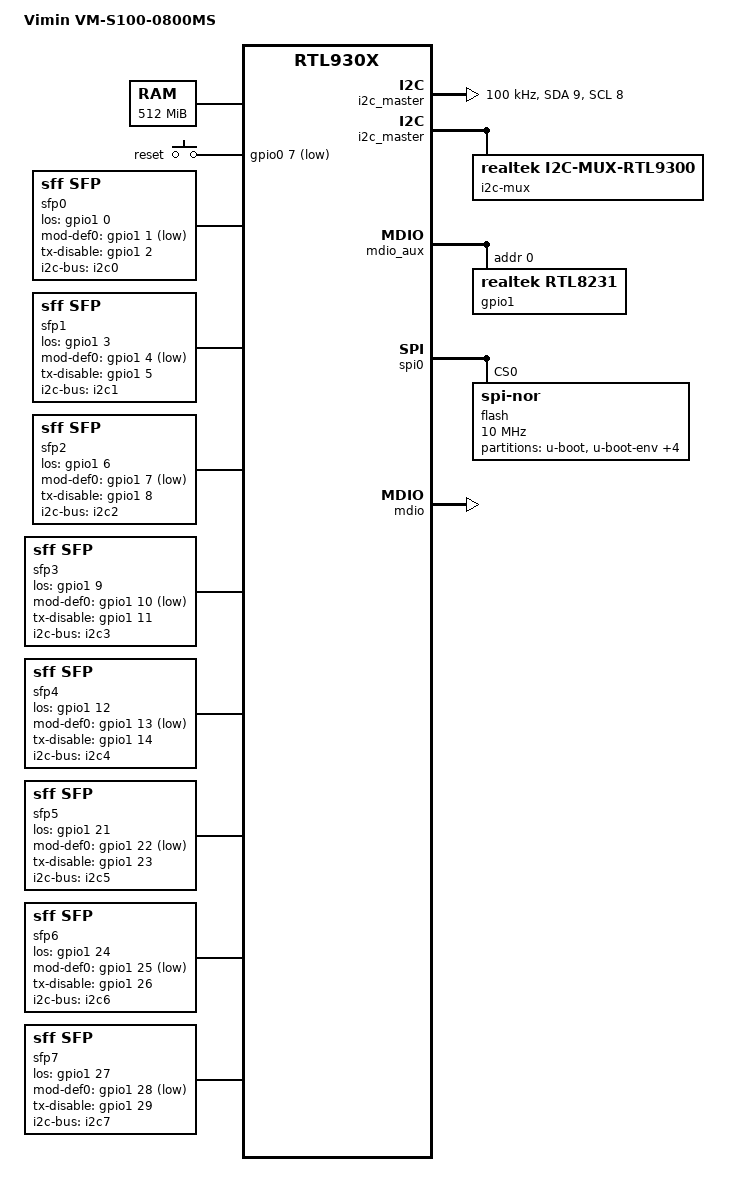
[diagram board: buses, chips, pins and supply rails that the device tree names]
// SPDX-License-Identifier: GPL-2.0-or-later

#include "rtl930x.dtsi"

#include <dt-bindings/input/input.h>
#include <dt-bindings/gpio/gpio.h>
#include <dt-bindings/leds/common.h>

/ {
	compatible = "vimin,vm-s100-0800ms", "realtek,rtl930x-soc";
	model = "Vimin VM-S100-0800MS";

	memory@0 {
		device_type = "memory";
		reg = <0x00000000 0x10000000>, /* first 256 MiB */
		      <0x20000000 0x10000000>; /* remaining 256 MiB */
	};

	chosen {
		stdout-path = "serial0:115200n8";
	};

	i2c_master: i2c@1b00036c {
		compatible = "realtek,rtl9300-i2c";
		reg = <0x1b00036c 0x3c>;
		#address-cells = <1>;
		#size-cells = <0>;
		scl-pin = <8>;
		sda-pin = <9>;
		clock-frequency = <100000>;
	};

	i2c-mux {
		compatible = "realtek,i2c-mux-rtl9300";
		i2c-parent = <&i2c_master>;
		#address-cells = <1>;
		#size-cells = <0>;

		i2c0: i2c@0 {
			reg = <0>;
			scl-pin = <8>;
			sda-pin = <9>;
		};

		i2c1: i2c@1 {
			reg = <1>;
			scl-pin = <8>;
			sda-pin = <10>;
		};

		i2c2: i2c@2 {
			reg = <2>;
			scl-pin = <8>;
			sda-pin = <11>;
		};

		i2c3: i2c@3 {
			reg = <3>;
			scl-pin = <8>;
			sda-pin = <12>;
		};

		i2c4: i2c@4 {
			reg = <4>;
			scl-pin = <8>;
			sda-pin = <13>;
		};

		i2c5: i2c@5 {
			reg = <5>;
			scl-pin = <8>;
			sda-pin = <14>;
		};

		i2c6: i2c@6 {
			reg = <6>;
			scl-pin = <8>;
			sda-pin = <15>;
		};

		i2c7: i2c@7 {
			reg = <7>;
			scl-pin = <8>;
			sda-pin = <16>;
		};
	};

	keys {
		compatible = "gpio-keys";

		button-reset {
			label = "reset";
			gpios = <&gpio0 7 GPIO_ACTIVE_LOW>;
			linux,code = <KEY_RESTART>;
		};
	};

	led_set {
		compatible = "realtek,rtl9300-leds";
		active-low;

		/*
		 * LED set 0
		 *
		 * - LED[0](Green): 10M/100M/1G/2.5G/5G/10G/LINK/ACT
		 */
		led_set0 = <0x0bab>;
	};

	sfp0: sfp-p1 {
		compatible = "sff,sfp";
		i2c-bus = <&i2c0>;
		los-gpio = <&gpio1 0 GPIO_ACTIVE_HIGH>;
		mod-def0-gpio = <&gpio1 1 GPIO_ACTIVE_LOW>;
		tx-disable-gpio = <&gpio1 2 GPIO_ACTIVE_HIGH>;
		maximum-power-milliwatt = <2900>;
		#thermal-sensor-cells = <0>;
	};

	sfp1: sfp-p2 {
		compatible = "sff,sfp";
		i2c-bus = <&i2c1>;
		los-gpio = <&gpio1 3 GPIO_ACTIVE_HIGH>;
		mod-def0-gpio = <&gpio1 4 GPIO_ACTIVE_LOW>;
		tx-disable-gpio = <&gpio1 5 GPIO_ACTIVE_HIGH>;
		maximum-power-milliwatt = <1500>;
		#thermal-sensor-cells = <0>;
	};

	sfp2: sfp-p3 {
		compatible = "sff,sfp";
		i2c-bus = <&i2c2>;
		los-gpio = <&gpio1 6 GPIO_ACTIVE_HIGH>;
		mod-def0-gpio = <&gpio1 7 GPIO_ACTIVE_LOW>;
		tx-disable-gpio = <&gpio1 8 GPIO_ACTIVE_HIGH>;
		maximum-power-milliwatt = <1500>;
		#thermal-sensor-cells = <0>;
	};

	sfp3: sfp-p4 {
		compatible = "sff,sfp";
		i2c-bus = <&i2c3>;
		los-gpio = <&gpio1 9 GPIO_ACTIVE_HIGH>;
		mod-def0-gpio = <&gpio1 10 GPIO_ACTIVE_LOW>;
		tx-disable-gpio = <&gpio1 11 GPIO_ACTIVE_HIGH>;
		maximum-power-milliwatt = <2000>;
		#thermal-sensor-cells = <0>;
	};

	sfp4: sfp-p5 {
		compatible = "sff,sfp";
		i2c-bus = <&i2c4>;
		los-gpio = <&gpio1 12 GPIO_ACTIVE_HIGH>;
		mod-def0-gpio = <&gpio1 13 GPIO_ACTIVE_LOW>;
		tx-disable-gpio = <&gpio1 14 GPIO_ACTIVE_HIGH>;
		maximum-power-milliwatt = <2000>;
		#thermal-sensor-cells = <0>;
	};

	sfp5: sfp-p6 {
		compatible = "sff,sfp";
		i2c-bus = <&i2c5>;
		los-gpio = <&gpio1 21 GPIO_ACTIVE_HIGH>;
		mod-def0-gpio = <&gpio1 22 GPIO_ACTIVE_LOW>;
		tx-disable-gpio = <&gpio1 23 GPIO_ACTIVE_HIGH>;
		maximum-power-milliwatt = <1500>;
		#thermal-sensor-cells = <0>;
	};

	sfp6: sfp-p7 {
		compatible = "sff,sfp";
		i2c-bus = <&i2c6>;
		los-gpio = <&gpio1 24 GPIO_ACTIVE_HIGH>;
		mod-def0-gpio = <&gpio1 25 GPIO_ACTIVE_LOW>;
		tx-disable-gpio = <&gpio1 26 GPIO_ACTIVE_HIGH>;
		maximum-power-milliwatt = <1500>;
		#thermal-sensor-cells = <0>;
	};

	sfp7: sfp-p8 {
		compatible = "sff,sfp";
		i2c-bus = <&i2c7>;
		los-gpio = <&gpio1 27 GPIO_ACTIVE_HIGH>;
		mod-def0-gpio = <&gpio1 28 GPIO_ACTIVE_LOW>;
		tx-disable-gpio = <&gpio1 29 GPIO_ACTIVE_HIGH>;
		maximum-power-milliwatt = <2900>;
		#thermal-sensor-cells = <0>;
	};
};

&mdio_aux {
	status = "okay";

	gpio1: gpio@0 {
		compatible = "realtek,rtl8231";
		reg = <0>;

		gpio-controller;
		#gpio-cells = <2>;
		gpio-ranges = <&gpio1 0 0 37>;

		led-controller {
			compatible = "realtek,rtl8231-leds";
			status = "disabled";
		};
	};
};

&spi0 {
	status = "okay";

	flash@0 {
		compatible = "jedec,spi-nor";
		reg = <0>;
		spi-max-frequency = <10000000>;

		partitions {
			compatible = "fixed-partitions";
			#address-cells = <1>;
			#size-cells = <1>;

			partition@0 {
				label = "u-boot";
				reg = <0x0 0xe0000>;
				read-only;
			};

			partition@e0000 {
				label = "u-boot-env";
				reg = <0xe0000 0x10000>;
			};

			partition@f0000 {
				label = "u-boot-env2";
				reg = <0xf0000 0x10000>;
				read-only;
			};

			partition@100000 {
				label = "jffs";
				reg = <0x100000 0x100000>;
			};

			partition@200000 {
				label = "jffs2";
				reg = <0x200000 0x100000>;
			};

			partition@300000 {
				label = "firmware";
				reg = <0x300000 0xd00000>;
				compatible = "openwrt,uimage", "denx,uimage";
				openwrt,ih-magic = <0x93000000>;
			};
		};
	};
};

&ethernet0 {
	mdio: mdio-bus {
		compatible = "realtek,rtl838x-mdio";
		regmap = <&ethernet0>;
		#address-cells = <1>;
		#size-cells = <0>;

		INTERNAL_PHY_SDS(0, 2)
		INTERNAL_PHY_SDS(8, 3)
		INTERNAL_PHY_SDS(16, 4)
		INTERNAL_PHY_SDS(20, 5)
		INTERNAL_PHY_SDS(24, 6)
		INTERNAL_PHY_SDS(25, 7)
		INTERNAL_PHY_SDS(26, 8)
		INTERNAL_PHY_SDS(27, 9)
	};
};

&switch0 {
	ports {
		#address-cells = <1>;
		#size-cells = <0>;

		port@0 {
			reg = <0>;
			label = "lan1";
			phy-handle = <&phy0>;
			phy-mode = "1000base-x";
			sfp = <&sfp0>;
			managed = "in-band-status";
			led-set = <0>;
		};

		port@8 {
			reg = <8>;
			label = "lan2";
			phy-handle = <&phy8>;
			phy-mode = "1000base-x";
			sfp = <&sfp1>;
			managed = "in-band-status";
			led-set = <0>;
		};

		port@10 {
			reg = <16>;
			label = "lan3";
			phy-handle = <&phy16>;
			phy-mode = "1000base-x";
			sfp = <&sfp2>;
			managed = "in-band-status";
			led-set = <0>;
		};

		port@14 {
			reg = <20>;
			label = "lan4";
			phy-handle = <&phy20>;
			phy-mode = "1000base-x";
			sfp = <&sfp3>;
			managed = "in-band-status";
			led-set = <0>;
		};

		port@18 {
			reg = <24>;
			label = "lan5";
			phy-handle = <&phy24>;
			phy-mode = "1000base-x";
			sfp = <&sfp4>;
			managed = "in-band-status";
			led-set = <0>;
		};

		port@19 {
			reg = <25>;
			label = "lan6";
			phy-handle = <&phy25>;
			phy-mode = "1000base-x";
			sfp = <&sfp5>;
			managed = "in-band-status";
			led-set = <0>;
		};

		port@1a {
			reg = <26>;
			label = "lan7";
			phy-handle = <&phy26>;
			phy-mode = "1000base-x";
			sfp = <&sfp6>;
			managed = "in-band-status";
			led-set = <0>;
		};

		port@1b {
			reg = <27>;
			label = "lan8";
			phy-handle = <&phy27>;
			phy-mode = "1000base-x";
			sfp = <&sfp7>;
			managed = "in-band-status";
			led-set = <0>;
		};

		port@1c {
			ethernet = <&ethernet0>;
			reg = <28>;
			phy-mode = "internal";

			fixed-link {
				speed = <10000>;
				full-duplex;
			};
		};
	};
};

&thermal_zones {
	sfp-thermal {
		polling-delay-passive = <10000>;
		polling-delay = <10000>;
		thermal-sensors = <&sfp0>, <&sfp1>, <&sfp2>, <&sfp3>, <&sfp4>, <&sfp5>, <&sfp6>, <&sfp7>;
		trips {
			sfp-crit {
				temperature = <110000>;
				hysteresis = <1000>;
				type = "critical";
			};
		};
	};
};
